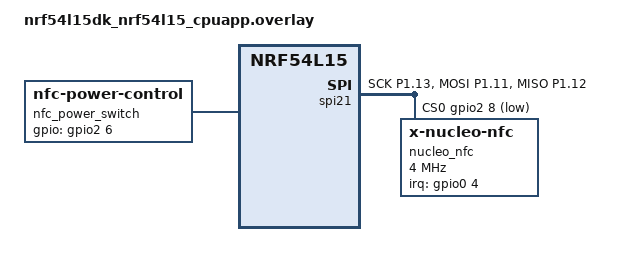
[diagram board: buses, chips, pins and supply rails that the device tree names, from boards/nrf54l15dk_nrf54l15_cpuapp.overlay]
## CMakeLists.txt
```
#
# Copyright (c) 2025 Nordic Semiconductor ASA
#
# SPDX-License-Identifier: LicenseRef-Nordic-5-Clause
#

cmake_minimum_required(VERSION 3.20.0)
find_package(Zephyr REQUIRED HINTS $ENV{ZEPHYR_BASE})

project(ncs-nfc-reader-sample)

target_sources(app PRIVATE src/main.c)
```

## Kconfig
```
#
# Copyright (c) 2025 Nordic Semiconductor ASA
#
# SPDX-License-Identifier: LicenseRef-Nordic-5-Clause
#

menu "Zephyr"
source "Kconfig.zephyr"
endmenu

config WORKER_POOL_TIMEOUT_MS
    int
    default 10

module = NCS_NFC_READER_SAMPLE
module-str = NCS_NFC_READER_SAMPLE
module-dep = LOG
module-help = Enables application log messages.
source "$(ZEPHYR_BASE)/subsys/logging/Kconfig.template.log_config"
```

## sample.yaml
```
sample:
  description: NFC reader sample application
  name: ncs-nfc-reader-sample
common:
  sysbuild: true
  build_only: true
  platform_allow: &platforms
    - nrf54l15dk/nrf54l15/cpuapp
  integration_platforms: *platforms
tests:
  app.nfc_reader: {}
```

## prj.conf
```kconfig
#
# Copyright (c) 2025 Nordic Semiconductor ASA
#
# SPDX-License-Identifier: LicenseRef-Nordic-5-Clause
#
# This file contains selected Kconfig options for the application.

# state machine framework
CONFIG_SMF=y

# compiler
CONFIG_DEBUG_OPTIMIZATIONS=y

# logging
CONFIG_LOG=y
CONFIG_NCS_NFC_READER_SAMPLE_LOG_LEVEL_INF=y

# use NFC STM driver HAL
CONFIG_NFC_DRIVER_STM=y

# set RFAL configuration
CONFIG_RFAL_FEATURE_NFCA=y
CONFIG_RFAL_FEATURE_WAKEUP_MODE=y
CONFIG_RFAL_FEATURE_T4T=y
CONFIG_RFAL_FEATURE_ISO_DEP=y
CONFIG_RFAL_FEATURE_ISO_DEP_POLL=y

CONFIG_ASSERT=y
```

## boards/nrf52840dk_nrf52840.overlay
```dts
/*
 * Copyright (c) 2025 Nordic Semiconductor ASA
 *
 * SPDX-License-Identifier: LicenseRef-Nordic-5-Clause
 */

&pinctrl {
	spi0_default_alt: spi0_default_alt {
		group1 {
			psels = <NRF_PSEL(SPIM_SCK, 1, 15)>,
			        <NRF_PSEL(SPIM_MOSI, 1, 13)>,
			        <NRF_PSEL(SPIM_MISO, 1, 14)>;
		};
	};

	spi0_sleep_alt: spi0_sleep_alt {
		group1 {
			psels = <NRF_PSEL(SPIM_SCK, 1, 15)>,
			        <NRF_PSEL(SPIM_MOSI, 1, 13)>,
			        <NRF_PSEL(SPIM_MISO, 1, 14)>;
			low-power-enable;
		};
	};
};

&spi0 {
	compatible = "nordic,nrf-spi";
	status = "okay";
	cs-gpios = <&gpio1 12 GPIO_ACTIVE_LOW>;

	pinctrl-0 = <&spi0_default_alt>;
	pinctrl-1 = <&spi0_sleep_alt>;
	pinctrl-names = "default", "sleep";
	nucleo_nfc@0 {
		compatible = "x-nucleo-nfc";
		reg = <0>;
		spi-max-frequency = <DT_FREQ_M(4)>;
		irq-gpios = <&gpio0 3 GPIO_ACTIVE_HIGH>;
		led-nfca-gpios = <&gpio0 29 GPIO_ACTIVE_HIGH>;
	};
};
```

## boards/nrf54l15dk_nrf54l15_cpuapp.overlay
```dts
/*
 * Copyright (c) 2025 Nordic Semiconductor ASA
 *
 * SPDX-License-Identifier: LicenseRef-Nordic-5-Clause
 */

/ {
	/* Disable buttons to avoid collision with interrupt and SCK pins for NFC tag reader. */
	/delete-node/ buttons;

	aliases {
		/delete-property/ sw0;
		/delete-property/ sw1;
		/delete-property/ sw2;
		/delete-property/ sw3;
	};
};

&pinctrl {
	spi21_default: spi21_default {
		group1 {
			psels = <NRF_PSEL(SPIM_SCK, 1, 13)>,
				<NRF_PSEL(SPIM_MOSI, 1, 11)>,
				<NRF_PSEL(SPIM_MISO, 1, 12)>;
		};
	};

	spi21_sleep: spi21_sleep {
		group1 {
			psels = <NRF_PSEL(SPIM_SCK, 1, 13)>,
				<NRF_PSEL(SPIM_MOSI, 1, 11)>,
				<NRF_PSEL(SPIM_MISO, 1, 12)>;
			low-power-enable;
		};
	};
};

&spi21 {
	compatible = "nordic,nrf-spim";
	status = "okay";
	cs-gpios = <&gpio2 8 GPIO_ACTIVE_LOW>;

	pinctrl-0 = <&spi21_default>;
	pinctrl-1 = <&spi21_sleep>;
	pinctrl-names = "default", "sleep";

	nucleo_nfc@0 {
		compatible = "x-nucleo-nfc";
		reg = <0>;
		spi-max-frequency = <DT_FREQ_M(4)>;
		spi-cs-setup-delay-ns = <1000>;
		spi-cs-hold-delay-ns = <1000>;
		irq-gpios = <&gpio0 4 GPIO_ACTIVE_HIGH>;
	};
};

/ {
	nfc_power_switch: nfc_power_switch {
		status = "okay";
		compatible = "nfc-power-control";
		gpios = <&gpio2 6 (GPIO_ACTIVE_HIGH | GPIO_PULL_DOWN)>;
	};
};

&gpio0 {
	status = "okay";
};

&gpio1 {
	status = "okay";
};

&gpio2 {
	status = "okay";
};
```

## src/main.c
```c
/*
 * Copyright (c) 2025 Nordic Semiconductor ASA
 *
 * SPDX-License-Identifier: LicenseRef-Nordic-5-Clause
 */

#include <stdlib.h>

#include <zephyr/kernel.h>
#include <zephyr/logging/log.h>
#include <zephyr/smf.h>

#include "ncs_pal_semaphore.h"
#include <rfal_ncs_pal.h>
#include <rfal_nfc.h>
#include <rfal_utils.h>

#include "ncs_pal_nfc_worker.h"

LOG_MODULE_REGISTER(app, CONFIG_NCS_NFC_READER_SAMPLE_LOG_LEVEL);

// NFC states
enum nfc_state {
	S_NO_INIT,
	S_IDLE,
	S_DISCOVERY,
};

// Forward declaration of functions.
static void no_init_entry(void *o);
static void no_init_run(void *o);

static void idle_entry(void *o);
static void idle_run(void *o);

static void discovery_entry(void *o);
static void discovery_run(void *o);
static void discovery_exit(void *o);

// NFC reader configuration
static rfalNfcDiscoverParam nfc_conf;

// State machine context.
static struct smf_ctx hsm_ctx;

// State machine for NFC.
static const struct smf_state nfc_hsm[] = {
	[S_NO_INIT] = SMF_CREATE_STATE(no_init_entry, no_init_run, NULL, NULL, NULL),
	[S_IDLE] = SMF_CREATE_STATE(idle_entry, idle_run, NULL, NULL, NULL),
	[S_DISCOVERY] = SMF_CREATE_STATE(discovery_entry, discovery_run, discovery_exit, NULL, NULL),
};

static ReturnCode rfal_nfc_init(void)
{
	ReturnCode rc = rfalNfcInitialize();

	if (rc) {
		LOG_ERR("RFAL init failed, return code: %d", rc);
		return rc;
	}

	// Set default discovery parameters.
	rfalNfcDefaultDiscParams(&nfc_conf);
	// Set only NFC-A technology Flag.
	nfc_conf.techs2Find |= RFAL_NFC_POLL_TECH_A;

	return rc;
}

// State machine callbacks
static void no_init_entry(void *o)
{
	LOG_INF("NOINIT state");
}

static void no_init_run(void *o)
{
	if (rfal_nfc_init()) {
		LOG_ERR("RFAL init failed");
		k_sleep(K_SECONDS(1));
		return;
	}

	// Transtion to the IDLE state.
	smf_set_state(&hsm_ctx, &nfc_hsm[S_IDLE]);
}

static void idle_entry(void *o)
{
	LOG_INF("IDLE state");
}

static void idle_run(void *o)
{
	ReturnCode rc = RFAL_ERR_NONE;

	if (rfalNfcGetState() > RFAL_NFC_STATE_IDLE) {
		rc = rfalNfcDeactivate(RFAL_NFC_DEACTIVATE_IDLE);
		if (rc) {
			LOG_ERR("RFAL: NFC deactivation failed, return code: %d", rc);
			return;
		}
	}

	rc = rfalNfcDiscover(&nfc_conf);
	if (rc) {
		LOG_ERR("RFAL: NFC discovery failed, return code: %d", rc);
		return;
	}

	// Transtion to the DISCOVERY state.
	smf_set_state(&hsm_ctx, &nfc_hsm[S_DISCOVERY]);
}

static void discovery_entry(void *o)
{
	LOG_INF("DISCOVERY state");
}

static void discovery_run(void *o)
{
	rfalNfcDevice *nfcDevice;
	if (rfalNfcIsDevActivated(rfalNfcGetState())) {
		rfalNfcGetActiveDevice(&nfcDevice);

		LOG_INF("Device type = %d", nfcDevice->type);

		switch (nfcDevice->type) {
		case RFAL_NFC_LISTEN_TYPE_NFCA:

			switch (nfcDevice->dev.nfca.type) {
			case RFAL_NFCA_T1T:
				LOG_HEXDUMP_INF(nfcDevice->nfcid, nfcDevice->nfcidLen,
						"ISO14443A/Topaz (NFC-A T1T) TAG "
						"found. UID: ");
				break;

			case RFAL_NFCA_T4T:
				LOG_HEXDUMP_INF(nfcDevice->nfcid, nfcDevice->nfcidLen,
						"NFCA Passive ISO-DEP device found. UID: ");
				break;

			case RFAL_NFCA_T4T_NFCDEP:
			case RFAL_NFCA_NFCDEP:
				LOG_HEXDUMP_INF(nfcDevice->nfcid, nfcDevice->nfcidLen,
						"NFCA Passive P2P device found. NFCID: ");
				break;

			default:
				LOG_HEXDUMP_INF(nfcDevice->nfcid, nfcDevice->nfcidLen,
						"ISO14443A/NFC-A card found. UID: %s");
				break;
			}
			break;

		default:
			break;
		}

		// Transtion to the IDLE state.
		smf_set_state(&hsm_ctx, &nfc_hsm[S_IDLE]);
	}
}

static void discovery_exit(void *o)
{
	rfalNfcDeactivate(RFAL_NFC_DEACTIVATE_IDLE);
	// Delay after read tag allows to avoid read the same tag agan too often.
	k_sleep(K_MSEC(500));
}

static void nfc_worker_fn(void *, void *, void *)
{
	int32_t ret;

	while (true) {
		rfalNfcWorker();

		ret = smf_run_state(&hsm_ctx);
		if (ret) {
			break;
		}
		ncs_pal_take_semaphore(K_MSEC(CONFIG_WORKER_POOL_TIMEOUT_MS));
	}
}

int main()
{
	LOG_INF("NCS NFC reader sample application");

	if (rfal_ncs_pal_init()) {
		LOG_ERR("NFC PAL init failed");
		return -1;
	}

	smf_set_initial(&hsm_ctx, &nfc_hsm[S_NO_INIT]);

	ncs_pal_nfc_worker_start(nfc_worker_fn);
	return 0;
}
```
